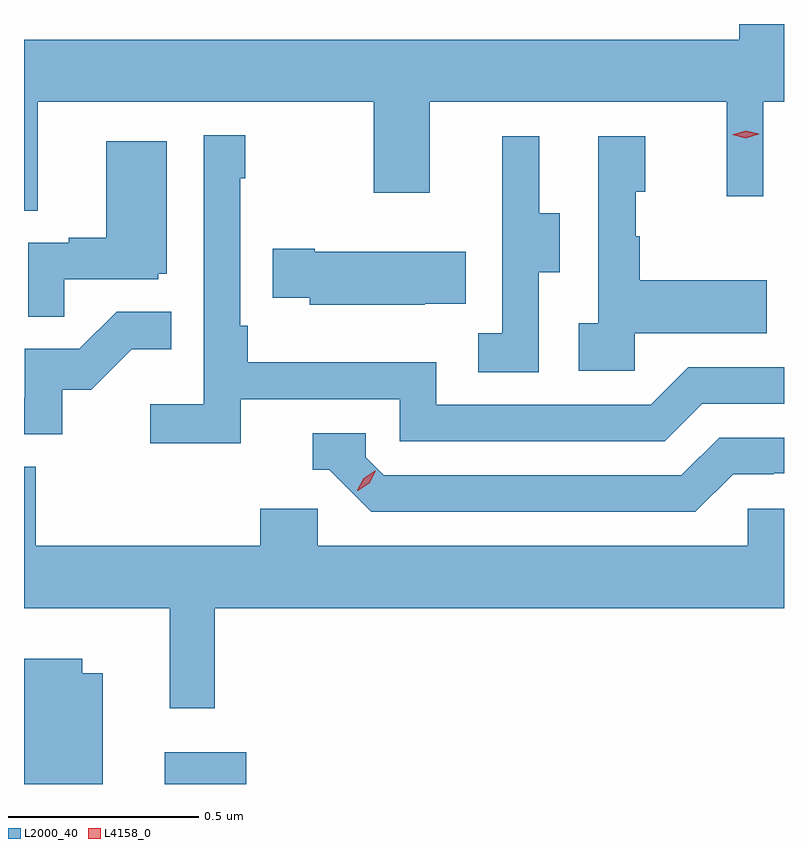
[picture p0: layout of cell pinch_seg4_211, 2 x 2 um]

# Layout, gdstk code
import gdstk
lib = gdstk.Library(unit=1e-6, precision=1e-09)
def R(c, l, rs):  # rectangles x0, y0, x1, y1
    for r in rs: c.add(gdstk.rectangle(r[:2], r[2:], *l))
def P(c, l, *ps):  # polygons
    for p in ps: c.add(gdstk.Polygon(p, *l))
L2000_40 = (2000, 40)
L4158_0 = (4158, 0)

pinch_seg4_211 = lib.new_cell('pinch_seg4_211')
R(pinch_seg4_211, L2000_40, [(974.909,828.325,975.124,828.409)])
P(pinch_seg4_211, L2000_40, [(974.575,830.12),(975.46,830.12),(975.46,829.881),(975.607,829.881),(975.607,830.12),(976.388,830.12),(976.388,829.872),(976.485,829.872),(976.485,830.12),(976.539,830.12),(976.539,830.325),(976.421,830.325),(976.421,830.284),(974.539,830.284),(974.539,829.834),(974.575,829.834)],
  [(975.11,829.338),(975.528,829.338),(975.528,829.227),(976.225,829.227),(976.324,829.326),(976.539,829.326),(976.539,829.422),(976.287,829.422),(976.188,829.323),(975.624,829.323),(975.624,829.435),(975.128,829.435),(975.128,829.531),(975.108,829.531),(975.108,829.919),(975.121,829.919),(975.121,830.032),(975.012,830.032),(975.012,829.324),(974.871,829.324),(974.871,829.222),(975.11,829.222)],
  [(975.894,829.672),(975.949,829.672),(975.949,829.827),(975.895,829.827),(975.895,830.029),(975.797,830.029),(975.797,829.815),(975.798,829.815),(975.798,829.511),(975.735,829.511),(975.735,829.408),(975.894,829.408)],
  [(976.146,829.511),(976.493,829.511),(976.493,829.651),(976.159,829.651),(976.159,829.766),(976.149,829.766),(976.149,829.884),(976.174,829.884),(976.174,830.029),(976.05,830.029),(976.05,829.538),(975.999,829.538),(975.999,829.413),(976.146,829.413)],
  [(974.645,829.653),(974.892,829.653),(974.892,829.668),(974.914,829.668),(974.914,830.017),(974.756,830.017),(974.756,829.762),(974.657,829.762),(974.657,829.749),(974.55,829.749),(974.55,829.555),(974.645,829.555)],
  [(975.593,829.589),(975.701,829.589),(975.701,829.726),(975.304,829.726),(975.304,829.734),(975.193,829.734),(975.193,829.604),(975.291,829.604),(975.291,829.586),(975.593,829.586)],
  [(974.64,829.362),(974.716,829.362),(974.823,829.469),(974.927,829.469),(974.927,829.568),(974.783,829.568),(974.685,829.47),(974.541,829.47),(974.541,829.341),(974.539,829.341),(974.539,829.245),(974.64,829.245)],
  [(976.405,829.14),(976.512,829.14),(976.512,829.143),(976.539,829.143),(976.539,829.236),(976.368,829.236),(976.269,829.137),(975.486,829.137),(975.438,829.185),(975.438,829.248),(975.299,829.248),(975.299,829.152),(975.342,829.152),(975.453,829.041),(976.306,829.041)],
  [(975.041,828.788),(976.539,828.788),(976.539,829.05),(976.443,829.05),(976.443,828.952),(975.312,828.952),(975.312,829.05),(975.161,829.05),(975.161,828.952),(974.57,828.952),(974.57,829.16),(974.539,829.16),(974.539,828.788),(974.923,828.788),(974.923,828.525),(975.041,828.525)],
  [(974.746,828.616),(974.692,828.616),(974.692,828.655),(974.539,828.655),(974.539,828.325),(974.746,828.325)])
P(pinch_seg4_211, L4158_0, [(976.438,830.024),(976.403,830.033),(976.403,830.033),(976.403,830.034),(976.438,830.044),(976.473,830.036),(976.473,830.035),(976.473,830.035)],
  [(975.416,829.097),(975.416,829.098),(975.433,829.13),(975.463,829.15),(975.464,829.15),(975.464,829.149),(975.447,829.117),(975.417,829.097)])

lib.write_gds('pinch_seg4_211.gds')
